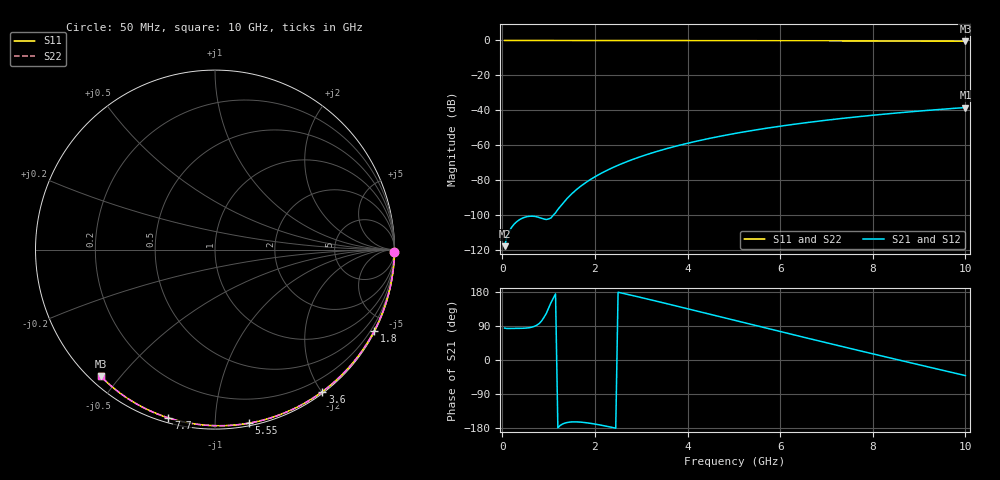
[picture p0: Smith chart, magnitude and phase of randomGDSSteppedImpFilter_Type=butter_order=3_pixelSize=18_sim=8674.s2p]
! freq	dB(S11)	phase(S11)	dB(S12)	phase(S12)
!  dB(S21)	phase(S21)	dB(S22)	phase(S22)
!S-par simulation data
#  GHz  S  DB  R 50
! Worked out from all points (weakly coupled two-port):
!   200 points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, 50 MHz to 10 GHz, reference 50 ohm
!   highest |S21| = -38.34 dB at 10 GHz (marker M1); lowest = -117.6 dB at 50 MHz (marker M2)
!   lowest |S11| = -0.4 dB at 10 GHz (marker M3), VSWR 39.33, Z = 1.52 - j22.3 ohm
!   |S11| at or under -10 dB: nowhere
!   |S22| runs from -0.4 to 0.0 dB; largest |S21 - S12| = 0
!   S11 on the Smith chart (normalised r, x): 50 MHz: open; 1.8 GHz: 0.04, -4.16; 3.6 GHz: 0.02, -2.01; 5.55 GHz: 0.02, -1.21; 7.7 GHz: 0.02, -0.76; 10 GHz: 0.03, -0.45
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0.05  -0.00 -0.8  -117.59 84.3  -117.59 84.3  -0.00 -0.8
0.9  -0.02 -13.7  -102.08 112.5  -102.08 112.5  -0.02 -13.7
1.75  -0.03 -26.3  -82.21 -164.6  -82.21 -164.6  -0.03 -26.3
1.8  -0.03 -27.1  -81.28 -165.3  -81.28 -165.3  -0.03 -27.1
1.85  -0.04 -27.8  -80.39 -166.1  -80.39 -166.1  -0.04 -27.8
1.9  -0.04 -28.5  -79.54 -167.0  -79.54 -167.0  -0.04 -28.5
2.05  -0.04 -30.7  -77.17 -170.1  -77.17 -170.1  -0.04 -30.7
2.25  -0.04 -33.7  -74.38 -174.8  -74.38 -174.8  -0.04 -33.7
2.45  -0.05 -36.6  -71.91 -179.9  -71.91 -179.9  -0.05 -36.6
2.65  -0.05 -39.5  -69.69 174.7  -69.69 174.7  -0.05 -39.5
3  -0.06 -44.5  -66.29 164.8  -66.29 164.8  -0.06 -44.5
3.4  -0.07 -50.1  -62.96 153.2  -62.96 153.2  -0.07 -50.1
3.6  -0.07 -52.9  -61.47 147.2  -61.47 147.2  -0.07 -52.9
4.3  -0.09 -62.5  -56.96 126.3  -56.96 126.3  -0.09 -62.5
5.05  -0.11 -72.5  -53.04 103.7  -53.04 103.7  -0.11 -72.5
5.55  -0.13 -79.0  -50.81 88.7  -50.81 88.7  -0.13 -79.0
6.1  -0.15 -86.0  -48.63 72.2  -48.63 72.2  -0.15 -86.0
6.7  -0.18 -93.4  -46.53 54.4  -46.53 54.4  -0.18 -93.4
7.7  -0.24 -105.5  -43.54 25.0  -43.54 25.0  -0.24 -105.5
8.35  -0.29 -113.1  -41.86 6.1  -41.86 6.1  -0.29 -113.1
9.15  -0.36 -122.3  -40.04 -16.9  -40.04 -16.9  -0.36 -122.3
10  -0.44 -131.9  -38.34 -41.2  -38.34 -41.2  -0.44 -131.9
